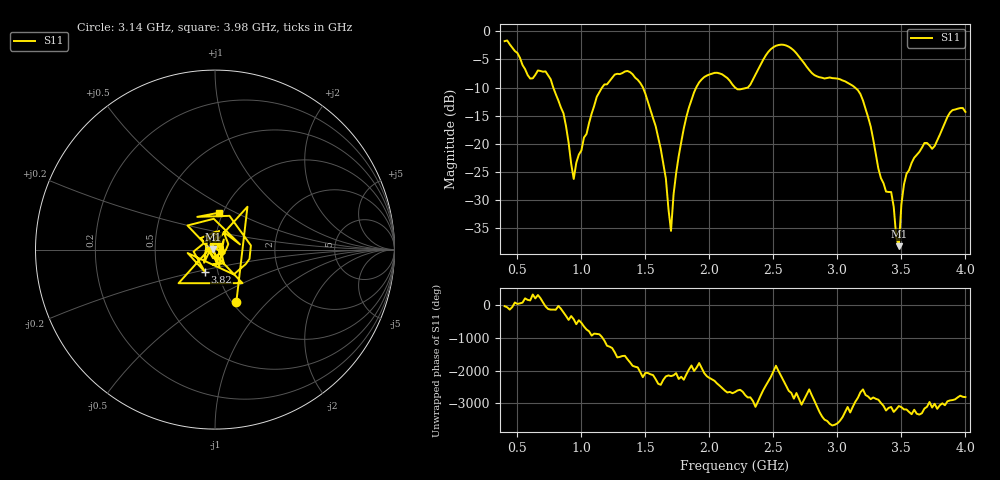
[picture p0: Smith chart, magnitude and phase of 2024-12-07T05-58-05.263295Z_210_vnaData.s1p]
!Created with skrf (http://scikit-rf.org).
# Hz S RI R 50.0
!freq ReS11 ImS11
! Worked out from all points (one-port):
!   181 points, 400 MHz to 4 GHz, reference 50 ohm
!   lowest |S11| = -38.3 dB at 3.48 GHz (marker M1), VSWR 1.02, Z = 48.9 + j0.372 ohm
!   |S11| at or under -10 dB: 779.9 MHz to 1.162 GHz (381.9 MHz wide, 39.3 % of centre); 1.481 GHz to 1.897 GHz (416.5 MHz wide, 24.7 % of centre); 3.137 GHz to end of sweep (the widest 3 of 4)
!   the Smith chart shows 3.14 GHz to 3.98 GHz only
!   S11 on the Smith chart (normalised r, x): 3.14 GHz: 1.05, -0.68; 3.82 GHz: 0.87, -0.22; 3.98 GHz: 0.96, +0.41
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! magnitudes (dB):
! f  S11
! 400 MHz  -1.7
! 600 MHz  -8.4
! 720 MHz  -7.1
! 860 MHz  -14.6
! 940 MHz  -26.3
! 1.12 GHz  -11.7
! 1.3 GHz  -7.6
! 1.5 GHz  -11.1
! 1.62 GHz  -20.9
! 1.7 GHz  -35.5
! 1.76 GHz  -22.3
! 1.92 GHz  -9.1
! 2.2 GHz  -10.0
! 2.3 GHz  -10.0
! 2.5 GHz  -2.8
! 2.66 GHz  -3.4
! 2.82 GHz  -7.8
! 3.1 GHz  -9.4
! 3.14 GHz  -10.1
! 3.24 GHz  -15.3
! 3.34 GHz  -26.1
! 3.42 GHz  -28.6
! 3.48 GHz  -38.3
! 3.52 GHz  -27.3
! 3.56 GHz  -24.7
! 3.82 GHz  -17.4
! 3.98 GHz  -13.7
! 4 GHz  -14.3
